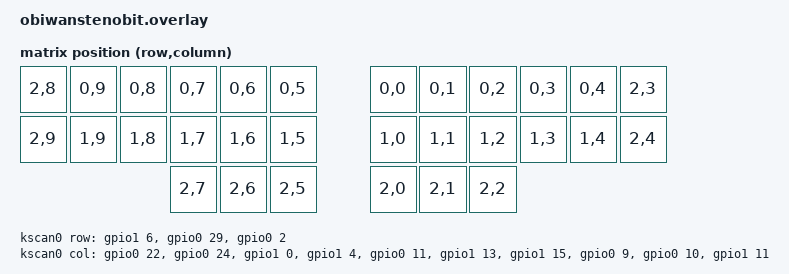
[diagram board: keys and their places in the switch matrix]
/*
 * Copyright (c) 2026 The ZMK Contributors
 *
 * SPDX-License-Identifier: MIT
 */

#include <dt-bindings/zmk/matrix_transform.h>
#include "obiwanstenobit-layouts.dtsi"

/ {
    chosen {
        zmk,kscan = &kscan0;
        zmk,physical-layout = &30k_layout;
    };

    kscan0: kscan {
        compatible = "zmk,kscan-gpio-matrix";
        wakeup-source;
        diode-direction = "col2row";
        col-gpios
            = <&gpio0 22 GPIO_ACTIVE_HIGH>
            , <&gpio0 24 GPIO_ACTIVE_HIGH>
            , <&gpio1 0 GPIO_ACTIVE_HIGH>
            , <&gpio1 4 GPIO_ACTIVE_HIGH>
            , <&gpio0 11 GPIO_ACTIVE_HIGH>
            , <&gpio1 13 GPIO_ACTIVE_HIGH>
            , <&gpio1 15 GPIO_ACTIVE_HIGH>
            , <&gpio0 9 GPIO_ACTIVE_HIGH>
            , <&gpio0 10 GPIO_ACTIVE_HIGH>
            , <&gpio1 11 GPIO_ACTIVE_HIGH>
            ;
        row-gpios
            = <&gpio1 6 (GPIO_ACTIVE_HIGH | GPIO_PULL_DOWN)>
            , <&gpio0 29 (GPIO_ACTIVE_HIGH | GPIO_PULL_DOWN)>
            , <&gpio0 2 (GPIO_ACTIVE_HIGH | GPIO_PULL_DOWN)>
            ;
    };

    30k_transform: matrix_transform {
        compatible = "zmk,matrix-transform";
        rows = <3>;
        columns = <10>;
        map = <
            RC(2,8) RC(0,9) RC(0,8) RC(0,7) RC(0,6) RC(0,5) RC(0,0) RC(0,1) RC(0,2) RC(0,3) RC(0,4) RC(2,3)
            RC(2,9) RC(1,9) RC(1,8) RC(1,7) RC(1,6) RC(1,5) RC(1,0) RC(1,1) RC(1,2) RC(1,3) RC(1,4) RC(2,4)
                                    RC(2,7) RC(2,6) RC(2,5) RC(2,0) RC(2,1) RC(2,2) 
        >;
    };
};

&30k_layout {
    kscan = <&kscan0>;
    transform = <&30k_transform>;
};


